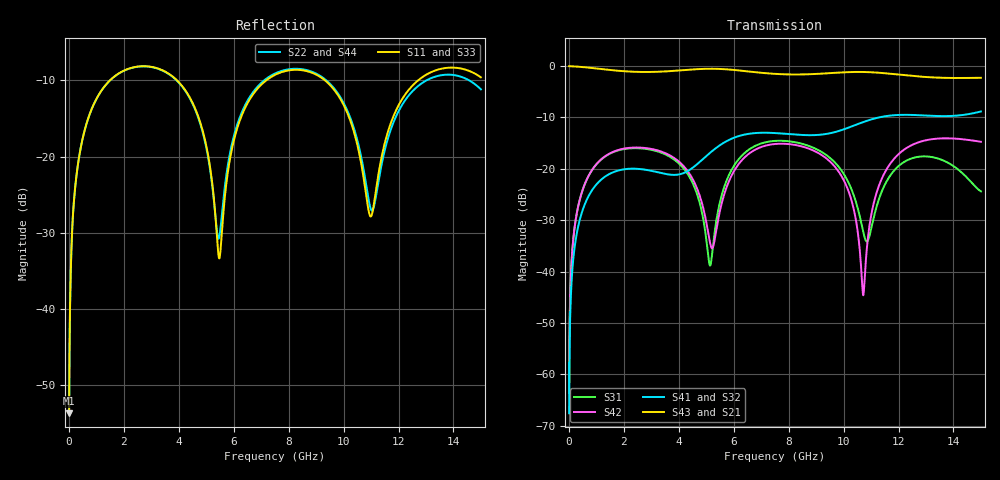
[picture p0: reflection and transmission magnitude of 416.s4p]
! Created with skrf 1.8.0 (http://scikit-rf.org).
# GHz S RI R 50.0
!freq ReS11 ImS11 ReS12 ImS12 ReS13 ImS13
! ReS14 ImS14
! ReS21 ImS21 ReS22 ImS22 ReS23 ImS23
! ReS24 ImS24
! ReS31 ImS31 ReS32 ImS32 ReS33 ImS33
! ReS34 ImS34
! ReS41 ImS41 ReS42 ImS42 ReS43 ImS43
! ReS44 ImS44
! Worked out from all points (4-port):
!   2499 points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, 5 MHz to 15 GHz, reference 50 ohm
!   strongest paths, dB at 5 MHz, 3.476 GHz, 7.19 GHz, 11.1 GHz, 15 GHz:
!     S43: 0.0, -1.0, -1.4, -1.2, -2.3
!     S21: 0.0, -1.0, -1.4, -1.2, -2.3
!     S41: -67.6, -21.0, -13.0, -10.2, -8.8
!     S32: -67.6, -21.0, -13.0, -10.2, -8.8
!     S42: -63.6, -16.9, -15.4, -26.7, -14.7
!     S31: -63.6, -17.1, -14.8, -29.5, -24.4
!   lowest |S11| = -53.7 dB at 5 MHz (marker M1), VSWR 1.00, Z = 50.2 + j0.125 ohm
!   |S11| at or under -10 dB: start of sweep to 1.491 GHz; 3.936 GHz to 7.181 GHz (3.246 GHz wide, 58.4 % of centre); 9.324 GHz to 12.71 GHz (3.388 GHz wide, 30.7 % of centre)
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0.005  0.00164 0.00124  0.9983 -0.00319  8.24e-05 0.000655  -8.01e-05 -0.00041
       0.9983 -0.00319  0.00164 0.00124  -8.01e-05 -0.00041  8.25e-05 0.000655
       8.24e-05 0.000655  -8.01e-05 -0.00041  0.00164 0.00124  0.9983 -0.00319
       -8.01e-05 -0.00041  8.25e-05 0.000655  0.9983 -0.00319  0.00164 0.00124
0.3626511  0.0302 0.0933  0.9584 -0.2283  0.0143 0.0443  -0.012 -0.0271
           0.9584 -0.2283  0.0301 0.0933  -0.012 -0.0271  0.0146 0.0442
           0.0143 0.0443  -0.012 -0.0271  0.0302 0.0933  0.9584 -0.2283
           -0.012 -0.0271  0.0146 0.0442  0.9584 -0.2283  0.0301 0.0933
1.619545  0.2835 0.1723  0.5206 -0.7458  0.1324 0.0609  -0.0929 -0.00117
          0.5206 -0.7458  0.2822 0.1732  -0.0929 -0.00124  0.1359 0.0558
          0.1324 0.0609  -0.0929 -0.00124  0.2836 0.1722  0.5205 -0.7458
          -0.0929 -0.00117  0.1359 0.0558  0.5205 -0.7458  0.2823 0.1733
5.345977  0.0229 -0.0303  -0.9311 -0.1376  0.015 0.0248  -0.0186 0.1578
          -0.9311 -0.1376  0.0299 -0.024  -0.0197 0.1576  -0.0142 0.0189
          0.015 0.0248  -0.0197 0.1576  0.023 -0.0325  -0.9309 -0.1381
          -0.0186 0.1578  -0.0142 0.0189  -0.9309 -0.1381  0.0305 -0.0262
8.522301  0.3662 -0.0391  0.0128 0.8288  0.1435 -0.0989  0.2011 -0.0713
          0.0128 0.8288  0.3711 -0.0447  0.2012 -0.0689  0.1425 -0.0812
          0.1435 -0.0989  0.2012 -0.0689  0.3638 -0.0401  0.0142 0.8299
          0.2011 -0.0713  0.1425 -0.0812  0.0142 0.8299  0.368 -0.0448
10.71697  0.0506 -0.0551  0.8317 0.2766  -0.0227 -0.00878  0.0796 -0.274
          0.8317 0.2766  0.0553 -0.0639  0.0834 -0.2728  0.00555 -0.00196
          -0.0227 -0.00878  0.0834 -0.2728  0.0492 -0.0524  0.833 0.2731
          0.0796 -0.274  0.00555 -0.00196  0.833 0.2731  0.054 -0.0611
15  0.3075 -0.1239  -0.3467 -0.6859  -0.0421 -0.0434  -0.321 0.1666
    -0.3467 -0.6859  0.2627 -0.0856  -0.3245 0.1604  -0.0965 -0.1559
    -0.0421 -0.0434  -0.3245 0.1604  0.3037 -0.1251  -0.3531 -0.6834
    -0.321 0.1666  -0.0965 -0.1559  -0.3531 -0.6834  0.2601 -0.0849
